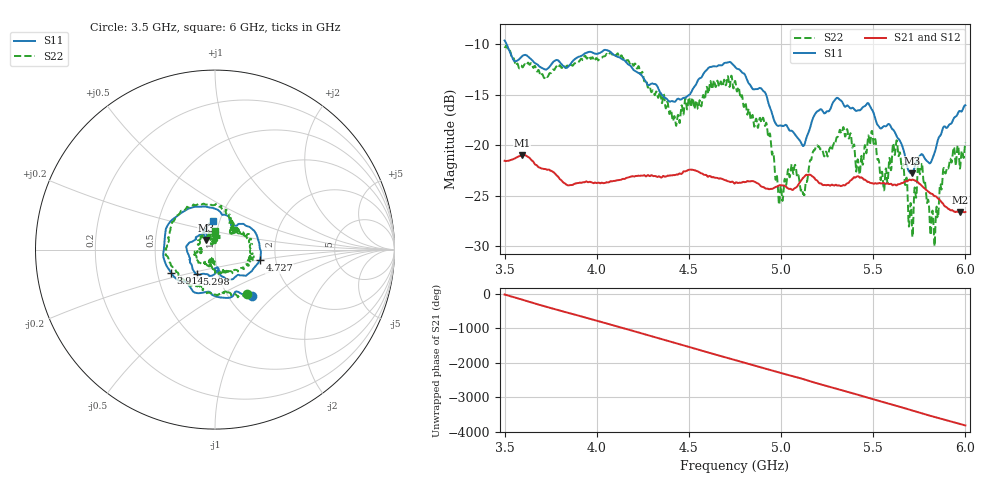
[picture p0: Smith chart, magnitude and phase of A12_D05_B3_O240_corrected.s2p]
! Created with skrf 1.9.0 (http://scikit-rf.org).
# Hz S RI R 50.0
!freq ReS11 ImS11 ReS21 ImS21 ReS12 ImS12 ReS22 ImS22
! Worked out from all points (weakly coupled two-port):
!   1601 points, 3.5 GHz to 6 GHz, reference 50 ohm
!   highest |S21| = -20.98 dB at 3.594 GHz (marker M1); lowest = -26.7 dB at 5.97 GHz (marker M2)
!   lowest |S11| = -22.8 dB at 5.709 GHz (marker M3), VSWR 1.16, Z = 45.2 + j4.93 ohm
!   |S11| at or under -10 dB: 3.511 GHz to end of sweep
!   |S22| runs from -30.0 to -10.1 dB; largest |S21 - S12| = 0.00098
!   S11 on the Smith chart (normalised r, x): 3.5 GHz: 1.27, -0.74; 3.914 GHz: 0.59, -0.16; 4.727 GHz: 1.65, -0.21; 5.298 GHz: 0.79, -0.22; 6 GHz: 0.93, +0.30
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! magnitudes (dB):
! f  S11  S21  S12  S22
! 3.5 GHz  -9.6  -21.6  -21.5  -10.2
! 3.594 GHz  -11.2  -21.0  -21.0  -12.2
! 3.914 GHz  -11.2  -23.7  -23.7  -11.4
! 3.917 GHz  -11.1  -23.7  -23.7  -11.4
! 4.334 GHz  -14.4  -23.1  -23.1  -15.3
! 4.439 GHz  -15.4  -22.9  -22.9  -17.1
! 4.727 GHz  -11.8  -23.7  -23.6  -13.5
! 4.75 GHz  -12.2  -23.8  -23.7  -13.6
! 4.912 GHz  -14.8  -24.3  -24.2  -18.1
! 4.997 GHz  -18.0  -24.0  -23.9  -24.2
! 5.067 GHz  -18.7  -24.4  -24.4  -22.9
! 5.119 GHz  -20.1  -23.3  -23.2  -24.8
! 5.167 GHz  -17.6  -23.1  -23.0  -21.2
! 5.298 GHz  -15.4  -23.9  -23.9  -19.4
! 5.584 GHz  -17.9  -23.9  -23.8  -21.9
! 5.634 GHz  -19.3  -23.9  -23.8  -20.7
! 5.709 GHz  -22.8  -23.4  -23.4  -27.8
! 5.753 GHz  -21.1  -23.9  -23.8  -22.9
! 5.823 GHz  -21.2  -24.9  -24.9  -26.8
! 5.889 GHz  -18.2  -26.1  -26.0  -22.7
! 5.97 GHz  -16.6  -26.7  -26.7  -22.3
! 6 GHz  -16.1  -26.6  -26.6  -19.7
